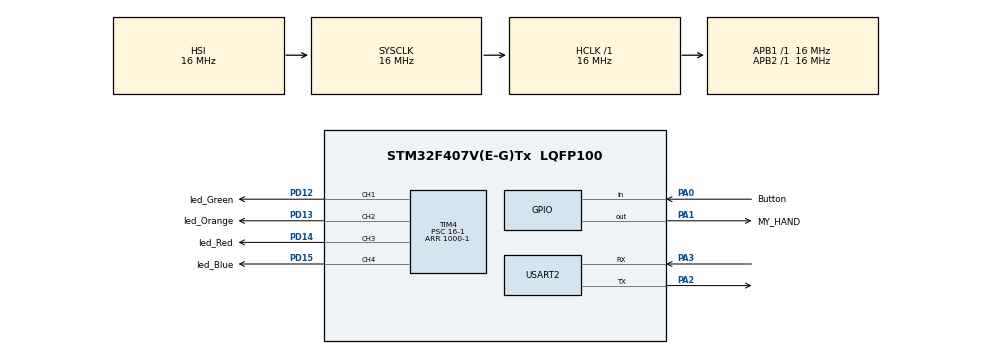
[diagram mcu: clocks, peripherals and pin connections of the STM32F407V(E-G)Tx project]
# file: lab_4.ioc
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Mcu.Family=STM32F4
Mcu.Name=STM32F407V(E-G)Tx
Mcu.Package=LQFP100
NVIC.PriorityGroup=NVIC_PRIORITYGROUP_4
NVIC.TIM4_IRQn=true\:0\:0\:false\:false\:true\:true\:true\:true
NVIC.USART2_IRQn=true\:0\:0\:false\:false\:true\:true\:true\:true
PA0-WKUP.GPIO_Label=Button
PA0-WKUP.Signal=GPIO_Input
PA1.GPIO_Label=MY_HAND
PA1.Signal=GPIO_Output
PA13.Mode=Serial_Wire
PA13.Signal=SYS_JTMS-SWDIO
PA14.Mode=Serial_Wire
PA14.Signal=SYS_JTCK-SWCLK
PA2.Mode=Asynchronous
PA2.Signal=USART2_TX
PA3.Mode=Asynchronous
PA3.Signal=USART2_RX
PD12.GPIO_Label=led_Green
PD12.Signal=S_TIM4_CH1
PD13.GPIO_Label=led_Orange
PD13.Signal=S_TIM4_CH2
PD14.GPIO_Label=led_Red
PD14.Signal=S_TIM4_CH3
PD15.GPIO_Label=led_Blue
PD15.Signal=S_TIM4_CH4
ProjectManager.HeapSize=0x200
ProjectManager.StackSize=0x400
ProjectManager.TargetToolchain=MDK-ARM V5.32
RCC.AHBFreq_Value=16000000
RCC.APB1Freq_Value=16000000
RCC.APB2Freq_Value=16000000
RCC.CortexFreq_Value=16000000
RCC.HSE_VALUE=25000000
RCC.HSI_VALUE=16000000
RCC.LSE_VALUE=32768
RCC.SYSCLKFreq_VALUE=16000000
RCC.VCOOutputFreq_Value=192000000
SH.S_TIM4_CH1.0=TIM4_CH1,PWM Generation1 CH1
SH.S_TIM4_CH2.0=TIM4_CH2,PWM Generation2 CH2
SH.S_TIM4_CH3.0=TIM4_CH3,PWM Generation3 CH3
SH.S_TIM4_CH4.0=TIM4_CH4,PWM Generation4 CH4
TIM4.Channel-PWM\ Generation1\ CH1=TIM_CHANNEL_1
TIM4.Channel-PWM\ Generation2\ CH2=TIM_CHANNEL_2
TIM4.Channel-PWM\ Generation3\ CH3=TIM_CHANNEL_3
TIM4.Channel-PWM\ Generation4\ CH4=TIM_CHANNEL_4
TIM4.Period=1000-1
TIM4.Prescaler=16-1
USART2.VirtualMode=VM_ASYNC
VP_TIM4_VS_ClockSourceINT.Mode=Internal
board=custom

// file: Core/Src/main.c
/* USER CODE BEGIN Header */
/**
  ******************************************************************************
  * @file           : main.c
  * @brief          : Main program body
  ******************************************************************************
  * @attention
  *
  * Copyright (c) 2022 STMicroelectronics.
  * All rights reserved.
  *
  * This software is licensed under terms that can be found in the LICENSE file
  * in the root directory of this software component.
  * If no LICENSE file comes with this software, it is provided AS-IS.
  *
  ******************************************************************************
  */
/* USER CODE END Header */
#include "main.h"
#include "tim.h"
#include "usart.h"
#include "gpio.h"

/* USER CODE BEGIN PD */
#define MASS_SIZE 1000
#define T0 0
#define T1 125
#define T2 500
#define T3 624
#define Shift_Orange 125
#define Shift_Green 250
#define Shift_Blue 375
/* USER CODE END PD */

/* USER CODE BEGIN PV */
uint16_t Steps_Red[1000];
uint16_t Steps_Orange[1000];
uint16_t Steps_Green[1000];
uint16_t Steps_Blue[1000];
uint16_t index = 0;
uint16_t temp = 0;
GPIO_PinState button_state = GPIO_PIN_RESET;
/* USER CODE END PV */

void SystemClock_Config(void);

int main(void)
{

  /* MCU Configuration--------------------------------------------------------*/

  /* Reset of all peripherals, Initializes the Flash interface and the Systick. */
  HAL_Init();

  /* Configure the system clock */
  SystemClock_Config();

  /* Initialize all configured peripherals */
  MX_GPIO_Init();
  MX_TIM4_Init();
  MX_USART2_UART_Init();
  /* USER CODE BEGIN 2 */
HAL_TIM_Base_Start_IT(&htim4);
	HAL_TIM_PWM_Start(&htim4, TIM_CHANNEL_1);
	HAL_TIM_PWM_Start(&htim4, TIM_CHANNEL_2);
	HAL_TIM_PWM_Start(&htim4, TIM_CHANNEL_3);
	HAL_TIM_PWM_Start(&htim4, TIM_CHANNEL_4);

	for(int i = T0; i < 1000; i++)
		{
			if (i == T0 || i >= T2) Steps_Red[i] = 0;

			else if(i < T1)
				{
					Steps_Red[i] = Steps_Red[i - 1] + 8;
					Steps_Red[T2 - i] = Steps_Red[i];
				}
				else if (i < T2 && i >= T1)
					Steps_Red[i] = Steps_Red[T1 - 1];
		}

	for (int i = 0; i < 1000; i++)
		{
			int j = i + Shift_Orange;
			if (j >= 1000) j = j - 1000;
			Steps_Orange[j] = Steps_Red[i];

			j = i + Shift_Green;
			if (j >= 1000) j = j - 1000;
			Steps_Green[j] = Steps_Red[i];

			j = i + Shift_Blue;
			if (j >= 1000) j = j - 1000;
			Steps_Blue[j] = Steps_Red[i];
		}

//  transfer_mass(&mass[0], MASS_SIZE);
  /* USER CODE END 2 */

  /* Infinite loop */
  while (1)
  {

  }
}

void SystemClock_Config(void)
{
  RCC_OscInitTypeDef RCC_OscInitStruct = {0};
  RCC_ClkInitTypeDef RCC_ClkInitStruct = {0};

  /** Configure the main internal regulator output voltage
  */
  __HAL_RCC_PWR_CLK_ENABLE();
  __HAL_PWR_VOLTAGESCALING_CONFIG(PWR_REGULATOR_VOLTAGE_SCALE1);

  /** Initializes the RCC Oscillators according to the specified parameters
  * in the RCC_OscInitTypeDef structure.
  */
  RCC_OscInitStruct.OscillatorType = RCC_OSCILLATORTYPE_HSI;
  RCC_OscInitStruct.HSIState = RCC_HSI_ON;
  RCC_OscInitStruct.HSICalibrationValue = RCC_HSICALIBRATION_DEFAULT;
  RCC_OscInitStruct.PLL.PLLState = RCC_PLL_NONE;
  if (HAL_RCC_OscConfig(&RCC_OscInitStruct) != HAL_OK)
  {
    Error_Handler();
  }

  /** Initializes the CPU, AHB and APB buses clocks
  */
  RCC_ClkInitStruct.ClockType = RCC_CLOCKTYPE_HCLK|RCC_CLOCKTYPE_SYSCLK
                              |RCC_CLOCKTYPE_PCLK1|RCC_CLOCKTYPE_PCLK2;
  RCC_ClkInitStruct.SYSCLKSource = RCC_SYSCLKSOURCE_HSI;
  RCC_ClkInitStruct.AHBCLKDivider = RCC_SYSCLK_DIV1;
  RCC_ClkInitStruct.APB1CLKDivider = RCC_HCLK_DIV1;
  RCC_ClkInitStruct.APB2CLKDivider = RCC_HCLK_DIV1;

  if (HAL_RCC_ClockConfig(&RCC_ClkInitStruct, FLASH_LATENCY_0) != HAL_OK)
  {
    Error_Handler();
  }
}

/* USER CODE BEGIN 4 */
void HAL_TIM_PeriodElapsedCallback(TIM_HandleTypeDef *htim)
{
  button_state = HAL_GPIO_ReadPin(Button_GPIO_Port, Button_Pin);
	if (button_state == GPIO_PIN_SET)
  {
  __HAL_TIM_SetCompare(&htim4, TIM_CHANNEL_1, Steps_Red[index]);
  __HAL_TIM_SetCompare(&htim4, TIM_CHANNEL_2, Steps_Orange[index]);
  __HAL_TIM_SetCompare(&htim4, TIM_CHANNEL_3, Steps_Green[index]);
  __HAL_TIM_SetCompare(&htim4, TIM_CHANNEL_4, Steps_Blue[index]);
  }
  else
  {
  __HAL_TIM_SET_COMPARE(&htim4, TIM_CHANNEL_1,Steps_Blue[index]);
  __HAL_TIM_SET_COMPARE(&htim4, TIM_CHANNEL_2, Steps_Green[index]);
  __HAL_TIM_SET_COMPARE(&htim4, TIM_CHANNEL_3, Steps_Orange[index]);
  __HAL_TIM_SET_COMPARE(&htim4, TIM_CHANNEL_4, Steps_Red[index]);

 }
  index ++;
  if (index == 625 )
		index = 0;
 }

/* USER CODE END 4 */

void Error_Handler(void)
{
  __disable_irq();
  while (1)
  {
  }
}
